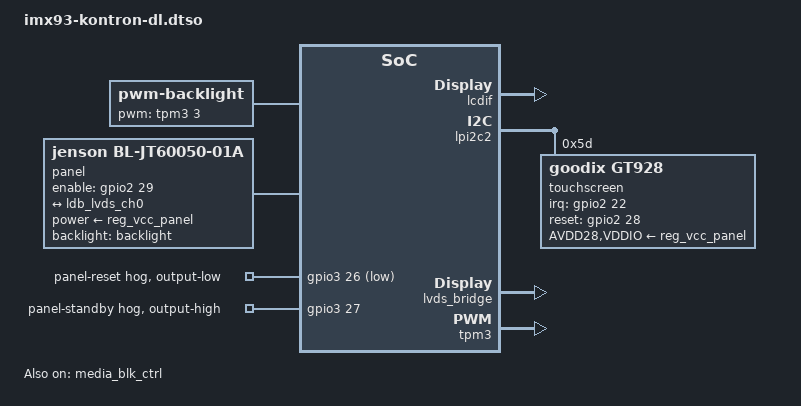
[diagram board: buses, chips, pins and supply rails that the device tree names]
// SPDX-License-Identifier: GPL-2.0+ OR MIT
/*
 * Copyright (C) 2024 Kontron Electronics GmbH
 */

/dts-v1/;
/plugin/;

#include <dt-bindings/gpio/gpio.h>
#include <dt-bindings/interrupt-controller/irq.h>

&{/} {
	model = "Kontron DL i.MX93 OSM-S";
	compatible = "kontron,imx93-bl-osm-s", "kontron,imx93-osm-s", "fsl,imx93";

	backlight: backlight {
		compatible = "pwm-backlight";
		pwms = <&tpm3 3 50000 0>;
		brightness-levels = <0 100>;
		num-interpolated-steps = <100>;
		default-brightness-level = <100>;
	};

	panel {
		compatible = "jenson,bl-jt60050-01a", "panel-lvds";
		backlight = <&backlight>;
		data-mapping = "vesa-24";
		enable-gpios = <&gpio2 29 GPIO_ACTIVE_HIGH>;
		power-supply = <&reg_vcc_panel>;
		height-mm = <86>;
		width-mm = <154>;

		panel-timing {
			clock-frequency = <50000000>;
			hactive = <1024>;
			hback-porch = <160>;
			hfront-porch = <160>;
			hsync-len = <1>;
			vactive = <600>;
			vback-porch = <23>;
			vfront-porch = <12>;
			vsync-len = <1>;
		};

		port {
			panel_in_lvds0: endpoint {
				remote-endpoint = <&ldb_lvds_ch0>;
			};
		};
	};
};

&gpio3 {
	panel-rst-hog {
		gpio-hog;
		gpios = <26 GPIO_ACTIVE_LOW>;
		output-low;
		line-name = "panel-reset";
	};

	panel-stby-hog {
		gpio-hog;
		gpios = <27 GPIO_ACTIVE_HIGH>;
		output-high;
		line-name = "panel-standby";
	};
};

&lcdif {
	status = "okay";
};

&ldb_lvds_ch0 {
	remote-endpoint = <&panel_in_lvds0>;
};

&lpi2c2 {
	#address-cells = <1>;
	#size-cells = <0>;
	status = "okay";

	touchscreen@5d {
		compatible = "goodix,gt928";
		reg = <0x5d>;
		interrupt-parent = <&gpio2>;
		interrupts = <22 IRQ_TYPE_LEVEL_LOW>;
		irq-gpios = <&gpio2 22 GPIO_ACTIVE_HIGH>;
		AVDD28-supply = <&reg_vcc_panel>;
		VDDIO-supply = <&reg_vcc_panel>;
		reset-gpios = <&gpio2 28 GPIO_ACTIVE_HIGH>;
	};
};

&lvds_bridge {
	status = "okay";
};

&media_blk_ctrl {
	status = "okay";
};

&tpm3 {
	status = "okay";
};
